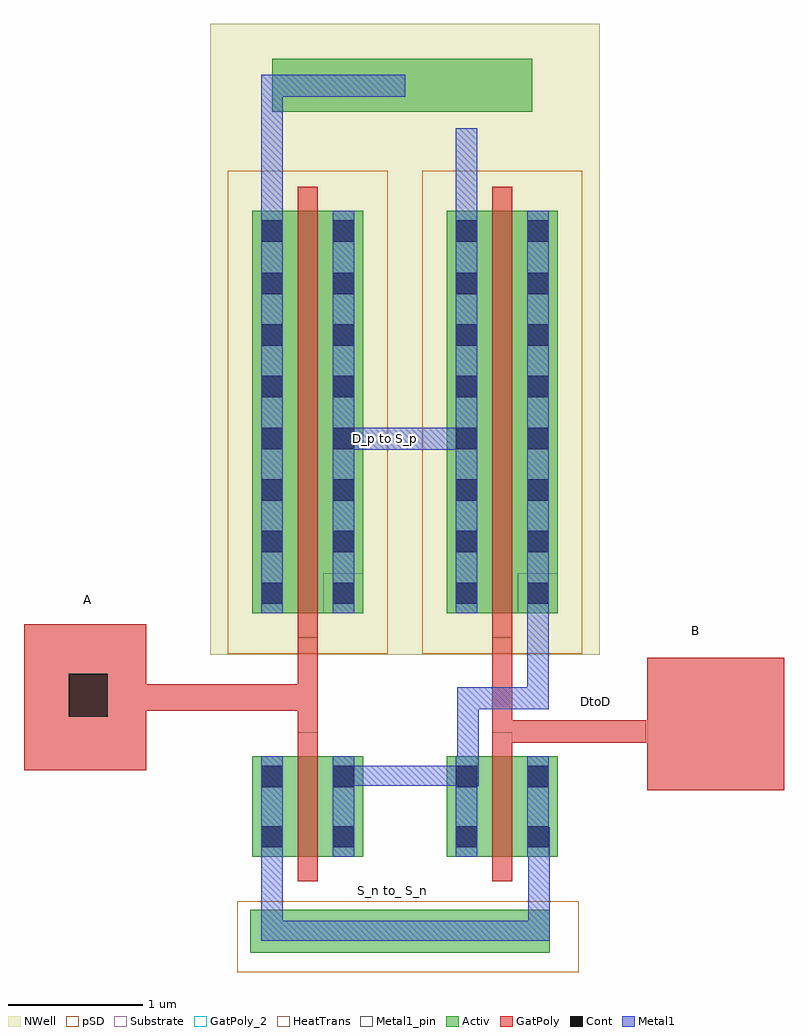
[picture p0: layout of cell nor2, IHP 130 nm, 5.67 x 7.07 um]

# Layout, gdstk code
import gdstk
lib = gdstk.Library(unit=1e-6, precision=5e-09)
def R(c, l, rs):  # rectangles x0, y0, x1, y1
    for r in rs: c.add(gdstk.rectangle(r[:2], r[2:], *l))
def A(c, l, x, y, w, h, nx, ny, dx, dy):  # array of equal rectangles
    R(c, l, [(x+i*dx, y+j*dy, x+i*dx+w, y+j*dy+h) for i in range(nx) for j in range(ny)])
def P(c, l, *ps):  # polygons
    for p in ps: c.add(gdstk.Polygon(p, *l))
Activ = (1, 0)
GatPoly = (5, 0)
GatPoly_2 = (5, 2)
Cont = (6, 0)
Metal1 = (8, 0)
Metal1_pin = (8, 2)
pSD = (14, 0)
NWell = (31, 0)
Substrate = (40, 0)
HeatTrans = (51, 0)

nmos_2 = lib.new_cell('nmos$2')
R(nmos_2, Activ, [(0,0,0.3,0.3), (0,0,0.83,0.75), (0.53,0,0.83,0.3)])
R(nmos_2, GatPoly, [(0.34,-0.18,0.49,0.93)])
R(nmos_2, GatPoly_2, [(0.34,-0.18,0.49,0.93)])
R(nmos_2, Cont, [(0.07,0.07,0.23,0.23), (0.6,0.07,0.76,0.23), (0.07,0.52,0.23,0.68), (0.6,0.52,0.76,0.68)])
R(nmos_2, Metal1, [(0.07,0,0.23,0.75), (0.6,0,0.76,0.75)])
R(nmos_2, Metal1_pin, [(0.07,0,0.23,0.75), (0.6,0,0.76,0.75)])
R(nmos_2, HeatTrans, [(0.34,-0.18,0.49,0.93)])
nmos_2.add(gdstk.Label('nmos', (0.415,0.375), layer=63, texttype=0))
nmos_2.add(gdstk.Label('nmos', (0.415,0.375), layer=51, texttype=0))

pmos_1 = lib.new_cell('pmos$1')
R(pmos_1, Activ, [(0,0,0.3,0.3), (0,0,0.83,3), (0.53,0,0.83,0.3)])
R(pmos_1, GatPoly, [(0.34,-0.18,0.49,3.18), (0.34,-0.18,0.49,3.18)])
A(pmos_1, Cont, 0.07, 0.07, 0.16, 0.16, 1, 7, 0, 0.385)
A(pmos_1, Cont, 0.6, 0.07, 0.16, 0.16, 1, 7, 0, 0.385)
R(pmos_1, Cont, [(0.07,2.77,0.23,2.93), (0.6,2.77,0.76,2.93)])
R(pmos_1, Metal1, [(0.07,0,0.23,3), (0.07,0,0.23,3), (0.6,0,0.76,3), (0.6,0,0.76,3)])
R(pmos_1, pSD, [(-0.18,-0.3,1.01,3.3)])
R(pmos_1, NWell, [(-0.31,-0.31,1.14,3.31)])
R(pmos_1, Substrate, [(0.53,0,0.83,0.3)])
R(pmos_1, HeatTrans, [(0.34,-0.18,0.49,3.18)])
pmos_1.add(gdstk.Label('pmos', (0.415,1.5), layer=63, texttype=0))
pmos_1.add(gdstk.Label('pmos', (0.415,1.5), layer=51, texttype=0))

nor2 = lib.new_cell('nor2')
R(nor2, Activ, [(-2.325,-1.22,-0.09,-0.9), (-2.16,5.05,-0.22,5.445)])
R(nor2, GatPoly, [(0.635,-0.01,1.655,0.98), (-4.01,0.14,-3.1,1.23), (-0.52,0.345,0.63,0.515), (-1.97,0.425,-1.82,1.13), (-0.52,0.425,-0.37,1.13), (-3.1,0.585,-1.82,0.78)])
P(nor2, GatPoly, [(-0.52,1.13),(-0.52,1.13),(-0.37,1.13),(-0.37,1.13)])
R(nor2, Cont, [(-3.675,0.54,-3.385,0.86)])
R(nor2, Metal1, [(-2.24,-1.13,-0.09,-0.98), (-2.24,-0.98,-2.08,-0.275), (-0.25,-0.98,-0.09,-0.285), (-0.78,0.02,-0.62,0.76), (-1.71,0.025,-0.62,0.175), (-0.78,0.595,-0.1,0.76), (-0.26,0.595,-0.1,1.52), (-1.71,2.53,-0.63,2.695), (-2.24,4.085,-2.08,4.945), (-0.79,4.085,-0.63,4.925), (-2.24,4.945,-2.08,5.325), (-2.24,5.16,-1.17,5.325)])
R(nor2, pSD, [(-2.42,-1.365,0.125,-0.835)])
R(nor2, NWell, [(-2.62,4.62,0.28,5.705)])
nor2.add(gdstk.Reference(nmos_2, (-2.31,-0.505)))
nor2.add(gdstk.Reference(nmos_2, (-0.86,-0.505)))
nor2.add(gdstk.Reference(pmos_1, (-2.31,1.31)))
nor2.add(gdstk.Reference(pmos_1, (-0.86,1.31)))
nor2.add(gdstk.Label('S_n to_ S_n', (-1.26,-0.755), layer=5, texttype=0))
nor2.add(gdstk.Label('A', (-3.54,1.41), layer=5, texttype=0))
nor2.add(gdstk.Label('B', (0.995,1.185), layer=5, texttype=0))
nor2.add(gdstk.Label('DtoD', (0.25,0.65), layer=8, texttype=0))
nor2.add(gdstk.Label('D_p to S_p ', (-1.3,2.615), layer=8, texttype=0))
nor2.add(gdstk.Label('VDD', (-2.535,5.905), layer=8, texttype=0))

lib.write_gds('nor2.gds')
